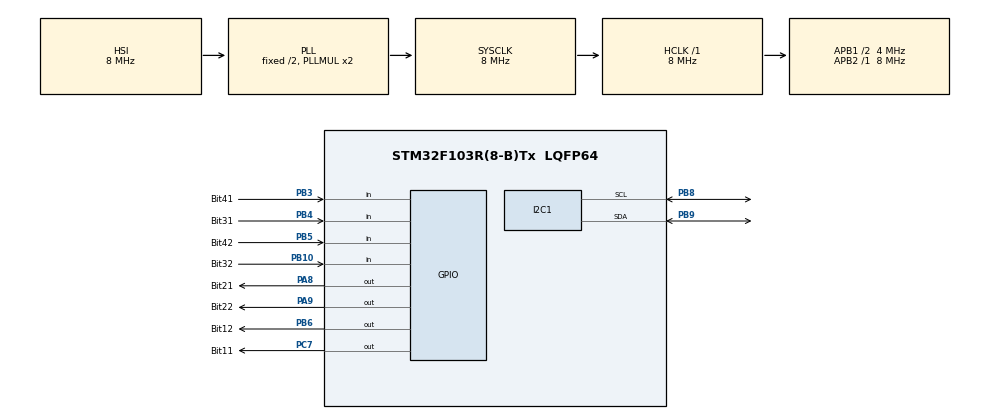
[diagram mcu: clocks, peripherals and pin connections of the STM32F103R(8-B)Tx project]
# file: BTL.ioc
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Mcu.Family=STM32F1
Mcu.Name=STM32F103R(8-B)Tx
Mcu.Package=LQFP64
NVIC.PriorityGroup=NVIC_PRIORITYGROUP_4
NVIC.TIM2_IRQn=true\:0\:0\:false\:false\:true\:true\:true
PA13.Mode=Serial_Wire
PA13.Signal=SYS_JTMS-SWDIO
PA14.GPIO_Label=TCK
PA14.Mode=Serial_Wire
PA14.Signal=SYS_JTCK-SWCLK
PA8.GPIO_Label=Bit21
PA8.Signal=GPIO_Output
PA9.GPIO_Label=Bit22
PA9.Signal=GPIO_Output
PB10.GPIO_Label=Bit32
PB10.GPIO_PuPd=GPIO_PULLUP
PB10.Signal=GPIO_Input
PB3.GPIO_Label=Bit41
PB3.GPIO_PuPd=GPIO_PULLUP
PB3.Signal=GPIO_Input
PB4.GPIO_Label=Bit31
PB4.GPIO_PuPd=GPIO_PULLUP
PB4.Signal=GPIO_Input
PB5.GPIO_Label=Bit42
PB5.GPIO_PuPd=GPIO_PULLUP
PB5.Signal=GPIO_Input
PB6.GPIO_Label=Bit12
PB6.Signal=GPIO_Output
PB8.Mode=I2C
PB8.Signal=I2C1_SCL
PB9.Mode=I2C
PB9.Signal=I2C1_SDA
PC7.GPIO_Label=Bit11
PC7.Signal=GPIO_Output
ProjectManager.HeapSize=0x200
ProjectManager.StackSize=0x400
ProjectManager.TargetToolchain=STM32CubeIDE
RCC.AHBFreq_Value=8000000
RCC.APB1CLKDivider=RCC_HCLK_DIV2
RCC.APB1Freq_Value=4000000
RCC.APB1TimFreq_Value=8000000
RCC.APB2Freq_Value=8000000
RCC.APB2TimFreq_Value=8000000
RCC.HCLKFreq_Value=8000000
RCC.RTCClockSelection=RCC_RTCCLKSOURCE_LSE
RCC.SYSCLKFreq_VALUE=8000000
RCC.SYSCLKSource=RCC_SYSCLKSOURCE_PLLCLK
RCC.USBFreq_Value=8000000
TIM2.Period=9
TIM2.Prescaler=7999
VP_TIM2_VS_ClockSourceINT.Mode=Internal
board=NUCLEO-F103RB

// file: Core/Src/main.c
/* USER CODE BEGIN Header */
/**
  ******************************************************************************
  * @file           : main.c
  * @brief          : Main program body
  ******************************************************************************
  * @attention
  *
  * <h2><center>&copy; Copyright (c) 2024 STMicroelectronics.
  * All rights reserved.</center></h2>
  *
  * This software component is licensed by ST under BSD 3-Clause license,
  * the "License"; You may not use this file except in compliance with the
  * License. You may obtain a copy of the License at:
  *                        opensource.org/licenses/BSD-3-Clause
  *
  ******************************************************************************
  */
/* USER CODE END Header */
#include "main.h"

/* USER CODE BEGIN Includes */
#include "traffic_light.h"
#include "input_reading.h"
#include "seven_segment.h"
#include "i2c-lcd.h"
#include "liquidcrystal_i2c.h"
/* USER CODE END Includes */

I2C_HandleTypeDef hi2c1;

TIM_HandleTypeDef htim2;

void SystemClock_Config(void);
static void MX_GPIO_Init(void);
static void MX_TIM2_Init(void);
static void MX_I2C1_Init(void);

int main(void)
{

  /* MCU Configuration--------------------------------------------------------*/

  /* Reset of all peripherals, Initializes the Flash interface and the Systick. */
  HAL_Init();

  /* Configure the system clock */
  SystemClock_Config();

  /* Initialize all configured peripherals */
  MX_GPIO_Init();
  MX_TIM2_Init();
  MX_I2C1_Init();
  /* USER CODE BEGIN 2 */
  HAL_TIM_Base_Start_IT(&htim2);
  lcd_init();
  reset_state();
  setTimer1(100);
  setTimer_blinkly(50);
  setTimer_increasing_num(10);
  setTimer_change_digit(5);

//  uint8_t a[3] = "123";
//	lcd_goto_XY(0,0);
//	lcd_send_string("h");
//  	lcd_goto_XY(1,0);
//  	lcd_send_string((char*)a);

  /* USER CODE END 2 */

  /* Infinite loop */
  /* USER CODE BEGIN WHILE */
  while (1)
  {
//	  lcd_goto_XY(0,0);
//	  lcd_send_string((char*)a);
//	  lcd_goto_XY(0, 5);
//	  lcd_send_string((char*)a);
	  fsm_for_input_processing();
    /* USER CODE END WHILE */

  }
}

void SystemClock_Config(void)
{
  RCC_OscInitTypeDef RCC_OscInitStruct = {0};
  RCC_ClkInitTypeDef RCC_ClkInitStruct = {0};

  /** Initializes the RCC Oscillators according to the specified parameters
  * in the RCC_OscInitTypeDef structure.
  */
  RCC_OscInitStruct.OscillatorType = RCC_OSCILLATORTYPE_HSI;
  RCC_OscInitStruct.HSIState = RCC_HSI_ON;
  RCC_OscInitStruct.HSICalibrationValue = RCC_HSICALIBRATION_DEFAULT;
  RCC_OscInitStruct.PLL.PLLState = RCC_PLL_ON;
  RCC_OscInitStruct.PLL.PLLSource = RCC_PLLSOURCE_HSI_DIV2;
  RCC_OscInitStruct.PLL.PLLMUL = RCC_PLL_MUL2;
  if (HAL_RCC_OscConfig(&RCC_OscInitStruct) != HAL_OK)
  {
    Error_Handler();
  }
  /** Initializes the CPU, AHB and APB buses clocks
  */
  RCC_ClkInitStruct.ClockType = RCC_CLOCKTYPE_HCLK|RCC_CLOCKTYPE_SYSCLK
                              |RCC_CLOCKTYPE_PCLK1|RCC_CLOCKTYPE_PCLK2;
  RCC_ClkInitStruct.SYSCLKSource = RCC_SYSCLKSOURCE_PLLCLK;
  RCC_ClkInitStruct.AHBCLKDivider = RCC_SYSCLK_DIV1;
  RCC_ClkInitStruct.APB1CLKDivider = RCC_HCLK_DIV2;
  RCC_ClkInitStruct.APB2CLKDivider = RCC_HCLK_DIV1;

  if (HAL_RCC_ClockConfig(&RCC_ClkInitStruct, FLASH_LATENCY_0) != HAL_OK)
  {
    Error_Handler();
  }
}

static void MX_I2C1_Init(void)
{

  hi2c1.Instance = I2C1;
  hi2c1.Init.ClockSpeed = 100000;
  hi2c1.Init.DutyCycle = I2C_DUTYCYCLE_2;
  hi2c1.Init.OwnAddress1 = 0;
  hi2c1.Init.AddressingMode = I2C_ADDRESSINGMODE_7BIT;
  hi2c1.Init.DualAddressMode = I2C_DUALADDRESS_DISABLE;
  hi2c1.Init.OwnAddress2 = 0;
  hi2c1.Init.GeneralCallMode = I2C_GENERALCALL_DISABLE;
  hi2c1.Init.NoStretchMode = I2C_NOSTRETCH_DISABLE;
  if (HAL_I2C_Init(&hi2c1) != HAL_OK)
  {
    Error_Handler();
  }

}

static void MX_TIM2_Init(void)
{

  TIM_ClockConfigTypeDef sClockSourceConfig = {0};
  TIM_MasterConfigTypeDef sMasterConfig = {0};

  htim2.Instance = TIM2;
  htim2.Init.Prescaler = 7999;
  htim2.Init.CounterMode = TIM_COUNTERMODE_UP;
  htim2.Init.Period = 9;
  htim2.Init.ClockDivision = TIM_CLOCKDIVISION_DIV1;
  htim2.Init.AutoReloadPreload = TIM_AUTORELOAD_PRELOAD_DISABLE;
  if (HAL_TIM_Base_Init(&htim2) != HAL_OK)
  {
    Error_Handler();
  }
  sClockSourceConfig.ClockSource = TIM_CLOCKSOURCE_INTERNAL;
  if (HAL_TIM_ConfigClockSource(&htim2, &sClockSourceConfig) != HAL_OK)
  {
    Error_Handler();
  }
  sMasterConfig.MasterOutputTrigger = TIM_TRGO_RESET;
  sMasterConfig.MasterSlaveMode = TIM_MASTERSLAVEMODE_DISABLE;
  if (HAL_TIMEx_MasterConfigSynchronization(&htim2, &sMasterConfig) != HAL_OK)
  {
    Error_Handler();
  }

}

static void MX_GPIO_Init(void)
{
  GPIO_InitTypeDef GPIO_InitStruct = {0};

  /* GPIO Ports Clock Enable */
  __HAL_RCC_GPIOB_CLK_ENABLE();
  __HAL_RCC_GPIOC_CLK_ENABLE();
  __HAL_RCC_GPIOA_CLK_ENABLE();

  /*Configure GPIO pin Output Level */
  HAL_GPIO_WritePin(Bit11_GPIO_Port, Bit11_Pin, GPIO_PIN_RESET);

  /*Configure GPIO pin Output Level */
  HAL_GPIO_WritePin(GPIOA, Bit21_Pin|Bit22_Pin, GPIO_PIN_RESET);

  /*Configure GPIO pin Output Level */
  HAL_GPIO_WritePin(Bit12_GPIO_Port, Bit12_Pin, GPIO_PIN_RESET);

  /*Configure GPIO pins : Bit32_Pin Bit41_Pin Bit31_Pin Bit42_Pin */
  GPIO_InitStruct.Pin = Bit32_Pin|Bit41_Pin|Bit31_Pin|Bit42_Pin;
  GPIO_InitStruct.Mode = GPIO_MODE_INPUT;
  GPIO_InitStruct.Pull = GPIO_PULLUP;
  HAL_GPIO_Init(GPIOB, &GPIO_InitStruct);

  /*Configure GPIO pin : Bit11_Pin */
  GPIO_InitStruct.Pin = Bit11_Pin;
  GPIO_InitStruct.Mode = GPIO_MODE_OUTPUT_PP;
  GPIO_InitStruct.Pull = GPIO_NOPULL;
  GPIO_InitStruct.Speed = GPIO_SPEED_FREQ_LOW;
  HAL_GPIO_Init(Bit11_GPIO_Port, &GPIO_InitStruct);

  /*Configure GPIO pins : Bit21_Pin Bit22_Pin */
  GPIO_InitStruct.Pin = Bit21_Pin|Bit22_Pin;
  GPIO_InitStruct.Mode = GPIO_MODE_OUTPUT_PP;
  GPIO_InitStruct.Pull = GPIO_NOPULL;
  GPIO_InitStruct.Speed = GPIO_SPEED_FREQ_LOW;
  HAL_GPIO_Init(GPIOA, &GPIO_InitStruct);

  /*Configure GPIO pin : Bit12_Pin */
  GPIO_InitStruct.Pin = Bit12_Pin;
  GPIO_InitStruct.Mode = GPIO_MODE_OUTPUT_PP;
  GPIO_InitStruct.Pull = GPIO_NOPULL;
  GPIO_InitStruct.Speed = GPIO_SPEED_FREQ_LOW;
  HAL_GPIO_Init(Bit12_GPIO_Port, &GPIO_InitStruct);

}

/* USER CODE BEGIN 4 */
void HAL_TIM_PeriodElapsedCallback(TIM_HandleTypeDef *htim)
{
	button_reading();
	timerRun();
}
/* USER CODE END 4 */

void Error_Handler(void)
{
  __disable_irq();
  while (1)
  {
  }
}

/************************ (C) COPYRIGHT STMicroelectronics *****END OF FILE****/
